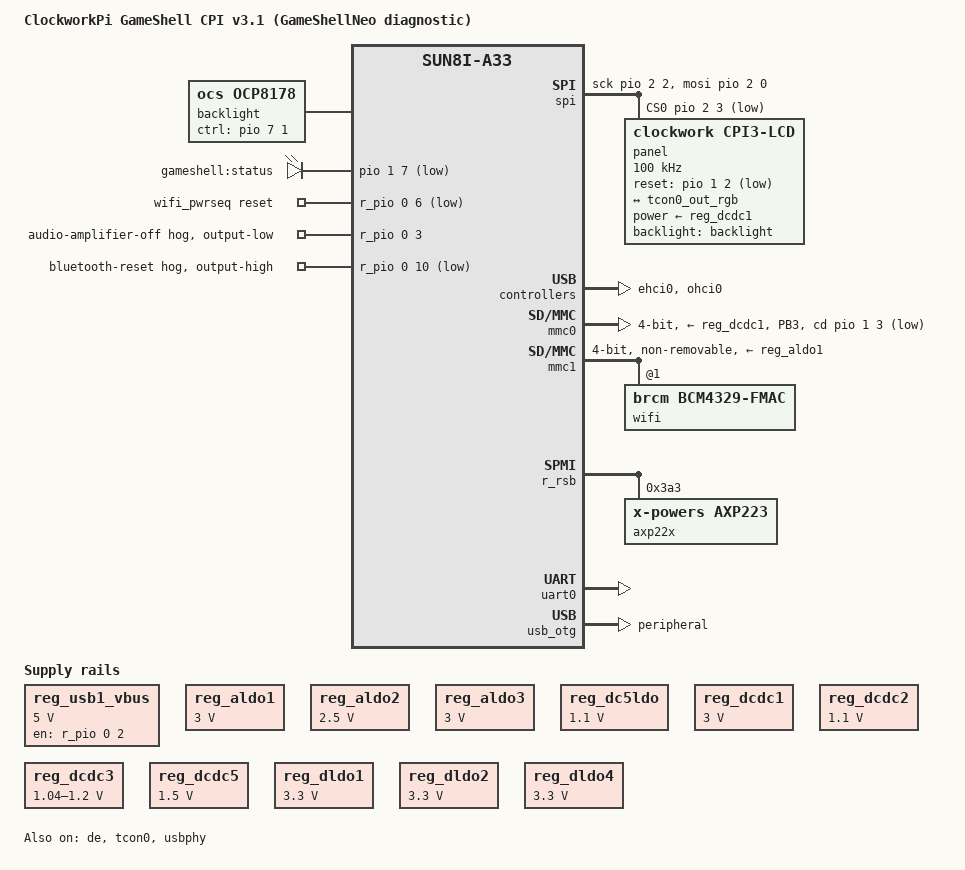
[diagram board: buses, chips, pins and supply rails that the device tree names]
// SPDX-License-Identifier: (GPL-2.0-or-later OR MIT)
/*
 * CPI v3.1 diagnostic board description, GameShellNeo contributors, 2026.
 * Electrical facts derived from Clockwork's CPI3 schematic and 2018 DTS.
 * Copyright (c) 2018 Clockwork; see kernel/README.md for provenance.
 */
/dts-v1/;
#include "sun8i-a33.dtsi"
#include <dt-bindings/gpio/gpio.h>
#include <dt-bindings/leds/common.h>

/ {
	model = "ClockworkPi GameShell CPI v3.1 (GameShellNeo diagnostic)";
	compatible = "clockwork,clockworkpi-cpi3", "allwinner,sun8i-a33";

	aliases {
		serial0 = &uart0;
		mmc0 = &mmc0;
		mmc1 = &mmc1;
	};

	chosen { stdout-path = "serial0:115200n8"; };

	backlight: backlight {
		compatible = "ocs,ocp8178";
		ctrl-gpios = <&pio 7 1 GPIO_ACTIVE_HIGH>; /* PH1 */
		default-brightness = <1>;
	};

	leds {
		compatible = "gpio-leds";
		led-0 {
			label = "gameshell:status";
			gpios = <&pio 1 7 GPIO_ACTIVE_LOW>; /* PB7 */
			default-state = "off";
		};
	};

	/* RGB carries pixels; this bus carries only 16-bit control pairs. */
	spi {
		compatible = "spi-gpio";
		#address-cells = <1>;
		#size-cells = <0>;
		sck-gpios = <&pio 2 2 GPIO_ACTIVE_HIGH>;
		mosi-gpios = <&pio 2 0 GPIO_ACTIVE_HIGH>;
		cs-gpios = <&pio 2 3 GPIO_ACTIVE_LOW>;
		num-chipselects = <1>;

		panel@0 {
			compatible = "clockwork,cpi3-lcd";
			reg = <0>;
			spi-max-frequency = <100000>;
			spi-cpol;
			spi-cpha;
			reset-gpios = <&pio 1 2 GPIO_ACTIVE_LOW>; /* PB2 */
			power-supply = <&reg_dcdc1>; /* LCD connector VDD: VCC-3V0 */
			backlight = <&backlight>;
			port {
				panel_in: endpoint {
					remote-endpoint = <&tcon0_out_rgb>;
				};
			};
		};
	};

	reg_usb1_vbus: regulator-keypad {
		compatible = "regulator-fixed";
		regulator-name = "keypad-vbus";
		regulator-min-microvolt = <5000000>;
		regulator-max-microvolt = <5000000>;
		gpio = <&r_pio 0 2 GPIO_ACTIVE_HIGH>; /* PL2 */
		enable-active-high;
	};

	wifi_pwrseq: pwrseq {
		compatible = "mmc-pwrseq-simple";
		reset-gpios = <&r_pio 0 6 GPIO_ACTIVE_LOW>; /* WL_REG_ON */
	};
};

&cpu0 { cpu-supply = <&reg_dcdc3>; };
&de { status = "okay"; };
&ehci0 { status = "okay"; };
&ohci0 { status = "okay"; };

&mmc0 {
	vmmc-supply = <&reg_dcdc1>;
	bus-width = <4>;
	cd-gpios = <&pio 1 3 GPIO_ACTIVE_LOW>;
	pinctrl-names = "default";
	pinctrl-0 = <&mmc0_pins>, <&card_detect_pin>;
	status = "okay";
};

&mmc1 {
	pinctrl-names = "default";
	pinctrl-0 = <&mmc1_pg_pins>;
	vmmc-supply = <&reg_aldo1>;
	mmc-pwrseq = <&wifi_pwrseq>;
	bus-width = <4>;
	non-removable;
	/* First PM debug stages retain Wi-Fi power; full removal is unqualified. */
	keep-power-in-suspend;
	status = "okay";
	#address-cells = <1>;
	#size-cells = <0>;

	wifi@1 {
		compatible = "brcm,bcm4329-fmac";
		reg = <1>;
		brcm,board-type = "clockwork,clockworkpi-cpi3";
	};
};

&pio {
	vcc-pb-supply = <&reg_aldo1>;
	vcc-pc-supply = <&reg_aldo1>;
	vcc-pd-supply = <&reg_aldo1>;
	vcc-pg-supply = <&reg_aldo1>;
	vcc-ph-supply = <&reg_aldo1>;
	card_detect_pin: card-detect-pin {
		pins = "PB3";
		function = "gpio_in";
		bias-pull-up;
	};
};

&r_pio {
	amplifier-disable-hog {
		gpio-hog;
		gpios = <0 3 GPIO_ACTIVE_HIGH>;
		output-low;
		line-name = "audio-amplifier-off";
	};
	bt-reset-hog {
		gpio-hog;
		gpios = <0 10 GPIO_ACTIVE_LOW>;
		output-high; /* Assert BT_RST_N; leave shared Wi-Fi supplies up. */
		line-name = "bluetooth-reset";
	};
};

&r_rsb {
	status = "okay";
	axp22x: pmic@3a3 {
		compatible = "x-powers,axp223";
		reg = <0x3a3>;
		interrupt-parent = <&r_intc>;
		interrupts = <GIC_SPI 32 IRQ_TYPE_LEVEL_LOW>;
		/* External USB is a peripheral; never drive its VBUS. */
	};
};

#include "axp223.dtsi"

&reg_aldo1 {
	regulator-name = "vcc-io";
	regulator-min-microvolt = <3000000>;
	regulator-max-microvolt = <3000000>;
	regulator-always-on;
};
&reg_aldo2 {
	regulator-name = "vdd-dll";
	regulator-min-microvolt = <2500000>;
	regulator-max-microvolt = <2500000>;
	regulator-always-on;
};
&reg_aldo3 {
	regulator-name = "vcc-pll-avcc";
	regulator-min-microvolt = <3000000>;
	regulator-max-microvolt = <3000000>;
	regulator-always-on;
};
&reg_dc5ldo {
	regulator-name = "vdd-cpus";
	regulator-min-microvolt = <1100000>;
	regulator-max-microvolt = <1100000>;
	regulator-always-on;
};
&reg_dcdc1 {
	regulator-name = "vcc-3v0";
	regulator-min-microvolt = <3000000>;
	regulator-max-microvolt = <3000000>;
	regulator-always-on;
};
&reg_dcdc2 {
	regulator-name = "vdd-sys";
	regulator-min-microvolt = <1100000>;
	regulator-max-microvolt = <1100000>;
	regulator-always-on;
};
&reg_dcdc3 {
	regulator-name = "vdd-cpu";
	regulator-min-microvolt = <1040000>;
	regulator-max-microvolt = <1200000>;
	regulator-always-on;
};
&reg_dcdc5 {
	regulator-name = "vcc-dram";
	regulator-min-microvolt = <1500000>;
	regulator-max-microvolt = <1500000>;
	regulator-always-on;
};

/* Three physically joined outputs supply the radio. Retain all three. */
&reg_dldo1 {
	regulator-name = "vcc-wifi0";
	regulator-min-microvolt = <3300000>;
	regulator-max-microvolt = <3300000>;
	regulator-always-on;
};
&reg_dldo2 {
	regulator-name = "vcc-wifi1";
	regulator-min-microvolt = <3300000>;
	regulator-max-microvolt = <3300000>;
	regulator-always-on;
};
&reg_dldo4 {
	regulator-name = "vcc-wifi2";
	regulator-min-microvolt = <3300000>;
	regulator-max-microvolt = <3300000>;
	regulator-always-on;
};

&battery_power_supply { status = "okay"; };
&usb_power_supply { status = "okay"; };
&ac_power_supply { status = "okay"; };

&tcon0 {
	pinctrl-names = "default";
	pinctrl-0 = <&lcd_rgb666_pins>;
	status = "okay";
};
&tcon0_out {
	tcon0_out_rgb: endpoint@0 {
		reg = <0>;
		remote-endpoint = <&panel_in>;
	};
};
&uart0 {
	pinctrl-names = "default";
	pinctrl-0 = <&uart0_pb_pins>;
	status = "okay";
};
&usb_otg {
	dr_mode = "peripheral";
	status = "okay";
};
&usbphy {
	usb0_vbus_power-supply = <&usb_power_supply>;
	usb1_vbus-supply = <&reg_usb1_vbus>;
	status = "okay";
};
